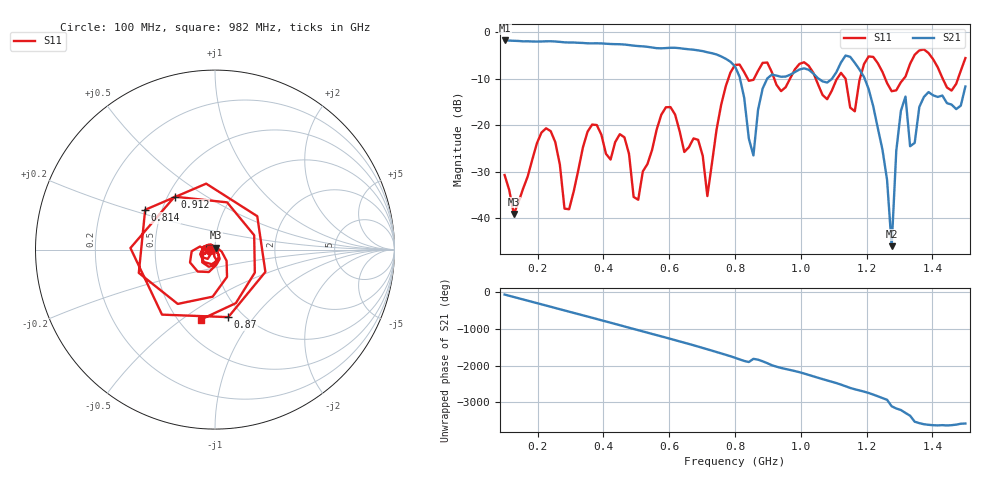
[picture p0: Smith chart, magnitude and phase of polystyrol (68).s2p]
! NanoVNA-App
! Date: 2025-09-25 15:30:25
! Start: 100MHz Stop: 1,5GHz Points: 101
! S-Parameter data: F S11 S21 S12 S22
# Hz S RI R 50
!  Frequency  S11_Real  S11_Imag  S21_Real  S21_Imag  S12_Real  S12_Imag  S22_Real  S22_Imag
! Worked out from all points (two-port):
!   101 points, 100 MHz to 1.5 GHz, reference 50 ohm
!   highest |S21| = -1.80 dB at 100 MHz (marker M1); lowest = -46.0 dB at 1.276 GHz (marker M2)
!   |S21| within 3 dB of the highest: start of sweep to 743.4 MHz
!   lowest |S11| = -39.0 dB at 128 MHz (marker M3), VSWR 1.02, Z = 50.3 + j1.07 ohm
!   |S11| at or under -10 dB: start of sweep to 779.8 MHz; 1.045 GHz to 1.11 GHz (65.1 MHz wide, 6.04 % of centre); 1.136 GHz to 1.18 GHz (43.6 MHz wide, 3.77 % of centre) (the widest 3 of 7)
!   S12 and S22 are empty: the file has one direction only
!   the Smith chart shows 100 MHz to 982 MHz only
!   S11 on the Smith chart (normalised r, x): 100 MHz: 0.94, -0.01; 814 MHz: 0.40, +0.22; 870 MHz: 0.85, -0.75; 912 MHz: 0.54, +0.37; 982 MHz: 0.64, -0.59
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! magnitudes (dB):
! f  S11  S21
! 100 MHz  -30.7  -1.8
! 128 MHz  -39.0  -1.9
! 212 MHz  -21.6  -2.0
! 282 MHz  -37.9  -2.2
! 338 MHz  -24.7  -2.3
! 464 MHz  -22.6  -2.7
! 506 MHz  -36.0  -3.0
! 576 MHz  -17.8  -3.5
! 716 MHz  -35.2  -4.3
! 800 MHz  -7.1  -7.4
! 814 MHz  -7.0  -9.6
! 856 MHz  -10.3  -26.5
! 870 MHz  -8.3  -16.7
! 912 MHz  -8.6  -9.1
! 982 MHz  -8.0  -8.6
! 1.038 GHz  -8.7  -8.9
! 1.164 GHz  -17.0  -6.6
! 1.192 GHz  -6.9  -9.6
! 1.276 GHz  -12.7  -46.0
! 1.318 GHz  -9.6  -13.9
! 1.332 GHz  -6.8  -24.5
! 1.5 GHz  -5.6  -11.7
